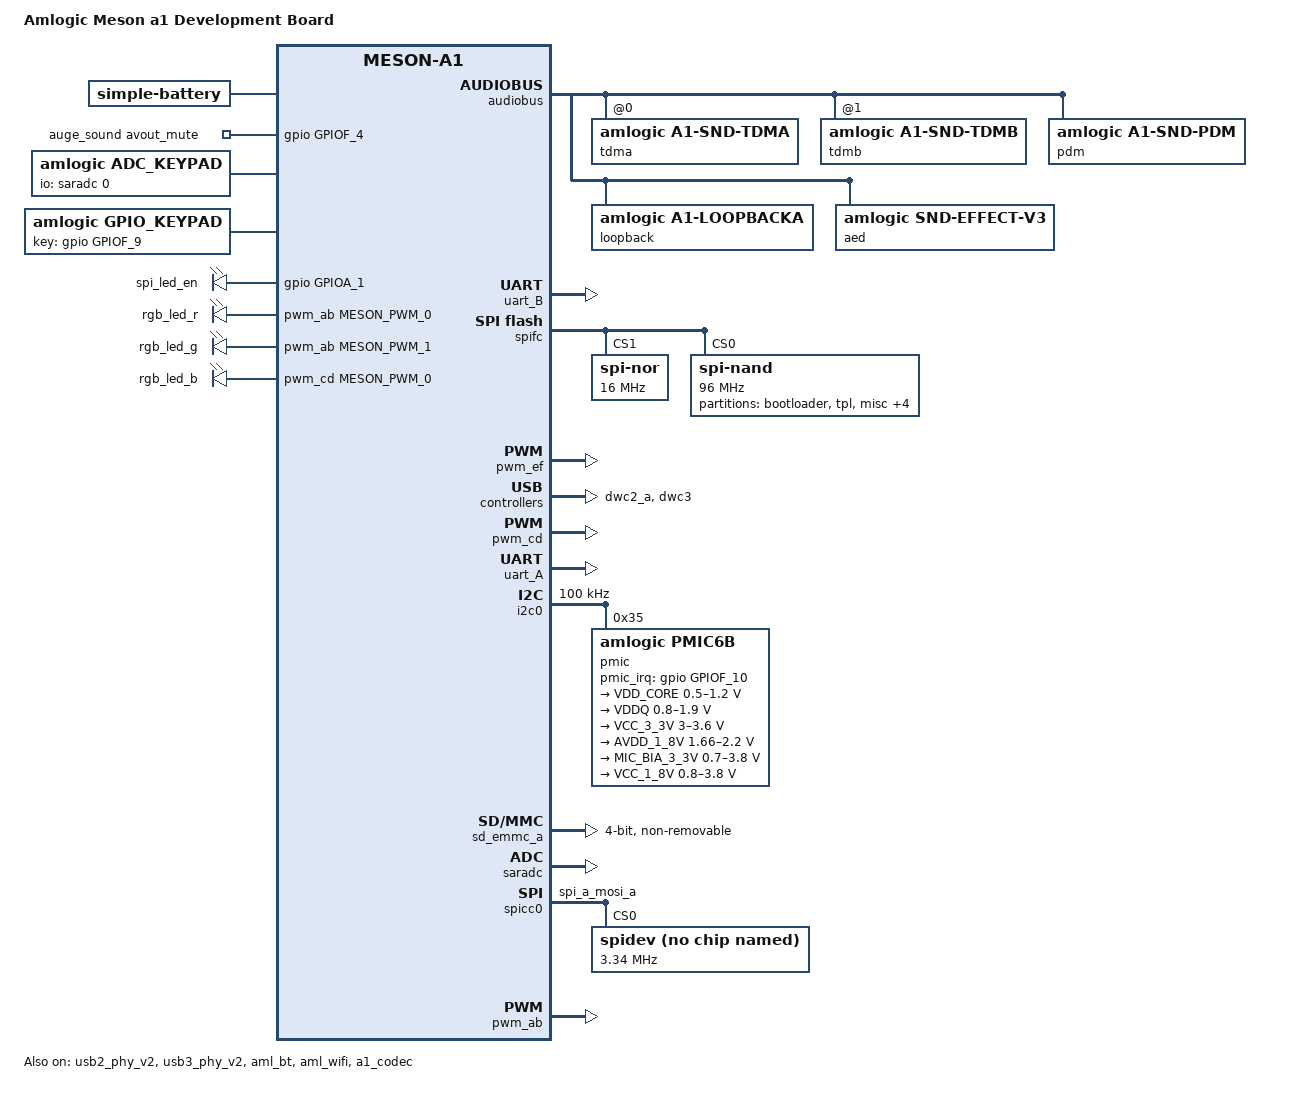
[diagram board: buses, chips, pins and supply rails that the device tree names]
// SPDX-License-Identifier: (GPL-2.0+ OR MIT)
/*
 * Copyright (c) 2019 Amlogic, Inc. All rights reserved.
 */

/dts-v1/;

#include "meson-a1.dtsi"

/ {
	compatible = "amlogic,a1";
	model = "Amlogic Meson a1 Development Board";

	aliases {
		serial0 = &uart_B;
		serial1 = &uart_A;
		serial2 = &uart_C;
		i2c0 = &i2c0;
		i2c1 = &i2c1;
		i2c2 = &i2c2;
		i2c3 = &i2c3;
		spi0 = &spifc;
		spi1 = &spicc0;
		tsensor0 = &tsensor;
	};
	chosen {
		stdout-path = "serial0:115200n8";
	};
	memory@0 {
		device_type = "memory";
		linux,usable-memory = <0x0 0x8000000>;
	};

	reserved-memory {
		#address-cells = <1>;
		#size-cells = <1>;
		ranges;

		dsp_fw_reserved:linux,dsp_fw {
			compatible = "shared-dma-pool";
			reusable;
			size = <0x1400000>;
			alignment = <0x400000>;
			alloc-ranges = <0x2800000 0x1400000>;
		};

		secos_reserved:linux,secos {
			status = "okay";
			compatible = "amlogic, aml_secos_memory";
			reg = <0x03d00000 0x00300000>;
			no-map;
		};

		/* global autoconfigured region for contiguous allocations */
		linux,cma {
			compatible = "shared-dma-pool";
			reusable;
			size = <0x800000>;
			alignment = <0x400000>;
			linux,cma-default;
		};
	};

	bat: battery {
		compatible = "simple-battery";
		charge-full-design-microamp-hours = <1900000>;
		charge-term-current-microamp = <120000>;
		constant_charge_voltage_max_microvolt = <4200000>;
		factory-internal-resistance-micro-ohms = <98000>;
		ocv-capacity-celsius = <20>;
		ocv-capacity-table-0 =
			<4115000 100>, <4088750 95>, <4052500 90>,
			<4016250 85>, <3980000 80>, <3943750 75>,
			<3907500 70>, <3871250 65>, <3835000 60>,
			<3798750 55>, <3762500 50>, <3726250 45>,
			<3690000 40>, <3653750 35>, <3617500 30>,
			<3581250 25>, <3545000 20>, <3508750 15>,
			<3472500 10>, <3436250 5>, <3400000 0>;
	};

	/* Audio Related start */
	dummy_codec:dummy_codec{
		#sound-dai-cells = <0>;
		compatible = "amlogic, aml_dummy_codec";
		status = "okay";
	};

	a1_codec:a1_codec {
		#sound-dai-cells = <0>;
		compatible = "amlogic, a1_acodec";
		status = "okay";
		reg = <0xFE004800 0x20>;
		tdmout_index = <1>;
		tdmin_index = <1>;
		dat0_ch_sel = <0>;
		/*audio output mode
		 *0:single end output
		 *1:differential output
		 */
		dacr_output_inv = <1>;
		power-domains = <&pwrdm PDID_ACODEC>;
	};

	auge_sound {
		compatible = "amlogic, auge-sound-card";
		aml-audio-card,name = "AML-AUGESOUND";

		/*avout mute gpio*/
		avout_mute-gpios = <&gpio GPIOF_4 GPIO_ACTIVE_HIGH>;

		aml-audio-card,dai-link@0 {
			format = "dsp_a";
			mclk-fs = <512>;
			//continuous-clock;
			//bitclock-inversion;
			//frame-inversion;
			/* master mode */
			bitclock-master = <&tdma>;
			frame-master = <&tdma>;
			/* slave mode */
			/*
			 * bitclock-master = <&tdmacodec>;
			 * frame-master = <&tdmacodec>;
			 */
			suffix-name = "alsaPORT-pcm";
			tdmacpu: cpu {
				sound-dai = <&tdma>;
				dai-tdm-slot-tx-mask =
							<1>;
				dai-tdm-slot-rx-mask =
							<1>;
				dai-tdm-slot-num = <2>;
				dai-tdm-slot-width = <16>;
				system-clock-frequency = <256000>;
			};
			tdmacodec: codec {
				sound-dai = <&dummy_codec>;
			};
		};

		aml-audio-card,dai-link@1 {
			format = "i2s";// "dsp_a";
			mclk-fs = <256>;
			//continuous-clock;
			//bitclock-inversion;
			//frame-inversion;
			/* master mode */
			bitclock-master = <&tdmb>;
			frame-master = <&tdmb>;
			/* slave mode */
			//bitclock-master = <&tdmbcodec>;
			//frame-master = <&tdmbcodec>;
			/* suffix-name, sync with android audio hal
			 * what's the dai link used for
			 */
			suffix-name = "alsaPORT-i2s";
			cpu {
				sound-dai = <&tdmb>;
				dai-tdm-slot-tx-mask = <1 1>;
				dai-tdm-slot-rx-mask = <1 1>;
				dai-tdm-slot-num = <2>;
				dai-tdm-slot-width = <32>;
				system-clock-frequency = <614400000>;
			};
			tdmbcodec: codec {
				sound-dai = <&a1_codec>;
			};
		};

		aml-audio-card,dai-link@2 {
			mclk-fs = <64>;
			/* suffix-name, sync with android audio hal
			 * what's the dai link used for
			 */
			suffix-name = "alsaPORT-pdm";
			cpu {
				sound-dai = <&pdm>;
			};
			codec {
				sound-dai = <&dummy_codec>;
			};
		};
#if 0
		aml-audio-card,dai-link@3 {
			mclk-fs = <128>;
			/* suffix-name, sync with android audio hal used for */
			suffix-name = "alsaPORT-spdif";
			cpu {
				sound-dai = <&spdifa>;
				system-clock-frequency = <6144000>;
			};
			codec {
				sound-dai = <&dummy_codec>;
			};
		};
#endif
		aml-audio-card,dai-link@4 {
			mclk-fs = <256>;
			continuous-clock;
			suffix-name = "alsaPORT-loopback";
			cpu {
				sound-dai = <&loopback>;
				system-clock-frequency = <12288000>;
			};
			codec {
				sound-dai = <&dummy_codec>;
			};
		};
	};
	audiolocker: locker {
		compatible = "amlogic, audiolocker";
		clocks = <&clkaudio CLKID_AUDIO_LOCKER_OUT
				&clkaudio CLKID_AUDIO_LOCKER_IN
				&clkaudio CLKID_AUDIO_MCLK_C
				&clkaudio CLKID_AUDIO_MCLK_D
				&clkc CLKID_FCLK_DIV2
				&clkc CLKID_FCLK_DIV3>;
		clock-names = "lock_out", "lock_in", "out_src",
					"in_src", "out_calc", "in_ref";
		interrupts = <GIC_SPI 42 IRQ_TYPE_EDGE_RISING>;
		interrupt-names = "irq";
		frequency = <49000000>; /* pll */
		dividor = <49>; /* locker's parent */
		power-domains = <&pwrdm PDID_AUDIO>;
		status = "disabled";
	};
	/* Audio Related end */

	adc_keypad {
		compatible = "amlogic, adc_keypad";
		status = "okay";
		key_name = "mute", "vol-", "vol+", "play";
		key_num = <4>;
		io-channels = <&saradc 0>;
		io-channel-names = "key-chan-0";
		key_chan = <0 0 0 0>;
		key_code = <113 114 115 207>;
		key_val = <510 267 141 0>; //val=voltage/1800mV*1023
		key_tolerance = <40 40 40 40>;
	};

	gpio_keypad{
		compatible = "amlogic, gpio_keypad";
		status = "okay";
		scan_period = <20>;
		key_num = <1>;
		key_name = "power";
		key_code = <116>;
		key-gpios = <&gpio GPIOF_9 GPIO_ACTIVE_HIGH>;
		detect_mode = <0>;/*0:polling mode, 1:irq mode*/
	};

	gpioleds {
		compatible = "gpio-leds";
		status = "okay";

		spi_led_en {
			label="spi_led_en";
			gpios=<&gpio GPIOA_1 GPIO_ACTIVE_HIGH>;
			default-state ="on";
		};
	};

	pwmleds {
		compatible = "pwm-leds";
		pinctrl-0 = <&pwm_a_pins4 &pwm_b_pins2 &pwm_c_pins3>;
		pinctrl-names = "default";
		status = "okay";

		led_r {
			label = "rgb_led_r";
			/* 50kHZ */
			pwms = <&pwm_ab MESON_PWM_0 20000 0>;
			max-brightness = <255>;
			ignore-init;
		};

		led_g {
			label = "rgb_led_g";
			/* 50kHZ */
			pwms = <&pwm_ab MESON_PWM_1 20000 0>;
			max-brightness = <255>;
			ignore-init;
		};

		led_b {
			label = "rgb_led_b";
			/* 50kHZ */
			pwms = <&pwm_cd MESON_PWM_0 20000 0>;
			max-brightness = <255>;
			ignore-init;
		};
	};
	audiobridge {
		compatible = "amlogic, audio-bridge";
		status = "okay";
		mboxes = <&mailbox_pl 1>,
			 <&mailbox_pl 3>;
		#mbox-cells = <1>;
		aml-audio-line,link@0 {
			auto-running = <1>;
			def-volume = <50>;
			src {
				/* 0-arm,1-dsp,2-uac */
				core = <1>;
				/* 0-none,1-tdma,2-tdmb,3-spdif,
				 * 4-lopback,5-pdmin,6-process
				 */
				sound-card = <6>;
				channels = <4>;
				sample-rate = <48000>;
				/* 0-s8,1-s16le,7-s32le */
				format = <1>;
				create-vir-card = <1>;
			};
			dst {
				core = <2>;
				sound-card = <0>;
				channels = <2>;
				sample-rate = <16000>;
				format = <1>;
			};
		};
		aml-audio-line,link@1 {
			auto-running = <1>;
			def-volume = <100>;
			src {
				core = <2>;
				sound-card = <0>;
				channels = <2>;
				sample-rate = <48000>;
				format = <1>;
			};
			dst {
				core = <1>;
				sound-card = <2>;
				channels = <2>;
				sample-rate = <48000>;
				format = <1>;
				create-vir-card = <1>;
			};
		};
	};
};

/* Audio Related start */
&audiobus {
	tdma: tdm@0 {
		compatible = "amlogic, a1-snd-tdma";
		#sound-dai-cells = <0>;
		dai-tdm-lane-slot-mask-in = <0 1>;
		dai-tdm-lane-slot-mask-out = <1 0>;
		dai-tdm-clk-sel = <0>;
		clocks = <&clkaudio CLKID_AUDIO_MCLK_A
				&clkc CLKID_FCLK_DIV3>;
		clock-names = "mclk", "clk_srcpll";
		pinctrl-names = "tdm_pins";
		pinctrl-0 = <&tdmout_a &tdmin_a>;
		power-domains = <&pwrdm PDID_AUDIO>;

		status = "okay";
	};

	tdmb: tdm@1 {
		compatible = "amlogic, a1-snd-tdmb";
		#sound-dai-cells = <0>;
		dai-tdm-lane-slot-mask-in = <1 0 0 0>;
		dai-tdm-lane-slot-mask-out = <1 0 0 0>;
		/* dai-tdm-lane-oe-slot-mask-in = <0 1>; */
		dai-tdm-clk-sel = <1>;
		clocks = <&clkaudio CLKID_AUDIO_MCLK_B
				&clkaudio CLKID_AUDIO_MCLK_PAD0
				&clkc CLKID_FCLK_DIV3>;
		clock-names = "mclk", "mclk_pad", "clk_srcpll";
		pinctrl-names = "tdm_pins";
		pinctrl-0 = <&tdmb_mclk>;

		/* tdmin data comes from ACODEC adc */
		acodec_adc = <1>;

		/*
		 * 0: tdmout_a;
		 * 1: tdmout_b;
		 * 2: tdmout_c;
		 * 3: spdifout;
		 * 4: spdifout_b;
		 */
		//samesource_sel = <3>;
		start_clk_enable = <1>;
		power-domains = <&pwrdm PDID_AUDIO>;

		src-clk-freq = <614400000>;

		status = "okay";
	};

	spdifa: spdif@0 {
		compatible = "amlogic, a1-snd-spdif-a";
		#sound-dai-cells = <0>;
		clocks = <&clkc CLKID_FCLK_DIV3
				&clkaudio CLKID_AUDIO_GATE_SPDIFIN
				&clkaudio CLKID_AUDIO_SPDIFIN>;
		clock-names = "fixed_clk", "gate_spdifin", "clk_spdifin";
		interrupts =
				<GIC_SPI 39 IRQ_TYPE_EDGE_RISING>;

		interrupt-names = "irq_spdifin";
		/* GPIOF_6 is used for RGB led, Do not set it here
		 * pinctrl-names = "spdif_pins";
		 * pinctrl-0 = <&spdifin>;
		 */
		power-domains = <&pwrdm PDID_AUDIO>;

		status = "disabled";
	};

	pdm: pdm {
		compatible = "amlogic, a1-snd-pdm";
		#sound-dai-cells = <0>;

		clocks = <&clkaudio CLKID_AUDIO2_GATE_PDM
			&clkc CLKID_FCLK_DIV2
			&clkc CLKID_FCLK_DIV2
			&clkaudio CLKID_AUDIO2_PDM_DCLK
			&clkaudio CLKID_AUDIO2_PDM_SYSCLK>;
		clock-names = "gate",
			"sysclk_srcpll",
			"dclk_srcpll",
			"pdm_dclk",
			"pdm_sysclk";

		pinctrl-names = "pdm_pins";
		pinctrl-0 = <&pdmin>;

		/* mode 0~4, defalut:1 */
		filter_mode = <1>;
		sys-src-clk-freq = <614400000>;
		/*power-domains = <&pwrdm PDID_PDM>;*/

		status = "okay";
	};

	asrca: resample@0 {
		compatible = "amlogic, a1-resample-a";
		clocks = <&clkc CLKID_FCLK_DIV3
			&clkaudio CLKID_AUDIO_MCLK_C
			&clkaudio CLKID_AUDIO_RESAMPLEA>;
		clock-names = "resample_pll", "resample_src", "resample_clk";

		/*same with toddr_src
		 *	TDMIN_A,    0
		 *	TDMIN_B,    1
		 *	TDMIN_C,    2
		 *	SPDIFIN,    3
		 *	PDMIN,      4
		 *	FRATV,      5
		 *	TDMIN_LB,   6
		 *	LOOPBACK_A, 7
		 *	FRHDMIRX,   8
		 *	LOOPBACK_B, 9
		 *	SPDIFIN_LB, 10
		 *	EARC_RX,    11
		 */
		resample_module = <3>;

		/* only can enable one new resample
		 * as only have one new resample HW
		 */
		status = "disabled";
	};

	asrcb: resample@1 {
		compatible = "amlogic, a1-resample-b";
		clocks = <&clkc CLKID_FCLK_DIV3
			&clkaudio CLKID_AUDIO_MCLK_D
			&clkaudio CLKID_AUDIO_RESAMPLEA>;
		clock-names = "resample_pll", "resample_src", "resample_clk";

		/*this resample is only used for loopback_A.*/
		/*only support 16000 or 48000Hz for capture*/
		capture_sample_rate = <16000>;

		/* hifi pll rate */
		src-clk-freq = <614400000>;

		status = "disabled";
	};

	vad:vad {
		compatible = "amlogic, snd-vad-top";
		#sound-dai-cells = <0>;

		clocks = <&clkaudio CLKID_AUDIO2_GATE_TOVAD
			/* &clkc CLKID_FCLK_DIV2 */
			&xtal
			&clkaudio CLKID_AUDIO2_VAD_CLK>;
		clock-names = "gate", "pll", "clk";

		interrupts = <GIC_SPI 117 IRQ_TYPE_EDGE_RISING
				GIC_SPI 118 IRQ_TYPE_EDGE_RISING>;
		interrupt-names = "irq_wakeup", "irq_frame_sync";

		/*
		 * Data src sel:
		 * 2: tdmin_c, actually tdmin_vad
		 * 4: pdmin
		 */
		src = <4>;

		/*
		 * deal with hot word in user space or kernel space
		 * 0: in user space
		 * 1: in kernel space
		 */
		level = <1>;

		status = "disabled";
	};

	loopback: loopback {
		compatible = "amlogic, a1-loopbacka";
		#sound-dai-cells = <0>;

		original-src = <&tdmb>;
		//tdmin_lb-src = <&tdmin_lb>;

		clocks = <&clkaudio CLKID_AUDIO2_GATE_PDM
			&clkc CLKID_FCLK_DIV2
			&clkc CLKID_FCLK_DIV2
			&clkaudio CLKID_AUDIO2_PDM_DCLK
			&clkaudio CLKID_AUDIO2_PDM_SYSCLK
			&clkc CLKID_FCLK_DIV3
			&clkaudio CLKID_AUDIO_MCLK_C>;
		clock-names = "pdm_gate",
			"pdm_sysclk_srcpll",
			"pdm_dclk_srcpll",
			"pdm_dclk",
			"pdm_sysclk",
			"tdminlb_mpll",
			"tdminlb_mclk";

		/* datain src
		 * 0: tdmin_a;
		 * 1: tdmin_b;
		 * 2: tdmin_c;
		 * 3: spdifin;
		 * 4: pdmin;
		 */
		datain_src = <4>;
		datain_chnum = <2>;
		datain_chmask = <0x3>;
		/* config which data pin for loopback */
		datain-lane-mask-in = <1 0 0 0>;

		sys-src-clk-freq = <614400000>;

		/* calc mclk for datalb */
		mclk-fs = <256>;

		/* tdmin_lb src
		 * 0: tdmoutA
		 * 1: tdmoutB
		 * 2: tdmoutC
		 * 3: PAD_TDMINA_DIN*, refer to core pinmux
		 * 4: PAD_TDMINB_DIN*, refer to core pinmux
		 * 5: PAD_TDMINC_DIN*, refer to core pinmux
		 * 6: PAD_TDMINA_D*, oe, refer to core pinmux
		 * 7: PAD_TDMINB_D*, oe, refer to core pinmux
		 */
		/* if tdmin_lb >= 3, use external loopback */
		datalb_src = <1>;
		datalb_chnum = <2>;
		datalb_chmask = <0x3>;
		/* config which data pin as loopback */
		datalb-lane-mask-in = <1 0 0 0>;
		power-domains = <&pwrdm PDID_AUDIO>;

		status = "okay";
	};

	aed:effect {
		compatible = "amlogic, snd-effect-v3";
		#sound-dai-cells = <0>;
		clocks = <&clkaudio CLKID_AUDIO_GATE_EQDRC
			&clkc CLKID_FCLK_DIV3
			&clkaudio CLKID_AUDIO_EQDRC>;
		clock-names = "gate", "srcpll", "eqdrc";
		/*
		 * 0:tdmout_a
		 * 1:tdmout_b
		 * 2:tdmout_c
		 * 3:spdifout
		 * 4:spdifout_b
		 */
		eqdrc_module = <1>;
		/* max 0xf, each bit for one lane, usually one lane */
		lane_mask = <0x1>;
		/* max 0xff, each bit for one channel */
		channel_mask = <0x3>;
		power-domains = <&pwrdm PDID_AUDIO>;
		status = "okay";
	};
}; /* end of audiobus */
/* Audio Related end */

&pinctrl_periphs {
	/* Audio Related start */
	tdmout_a: tdmout_a {
		mux { /* GPIOX_10, GPIOX_9, GPIOX_8 */
			groups = "tdm_a_sclk",
				"tdm_a_fs",
				"tdm_a_dout0";
			function = "tdm_a";
		};
	};

	tdmin_a: tdmin_a {
		mux { /* GPIOX_7 */
			groups = "tdm_a_din1";
			function = "tdm_a";
		};
	};

	tdmb_mclk: tdmb_mclk {
		mux {
			groups = "mclk_0";
			function = "mclk_0";
			drive-strength = <2>;
		};
	};

	tdmout_b: tdmout_b {
		mux { /* GPIOA_1, GPIOA_2, GPIOA_3 */
			groups = "tdm_b_sclk",
				"tdm_b_fs",
				"tdm_b_dout0";
			function = "tdm_b";
			drive-strength = <2>;
		};
	};

	tdmin_b:tdmin_b {
		mux { /* GPIOA_7 */
			groups = "tdm_b_din0";
			function = "tdm_b";
			drive-strength = <2>;
		};
	};

	spdifin: spdifin {
		mux {/* GPIOF_6 */
			groups = "spdif_in_f6";
			function = "spdif_in";
		};
	};

	pdmin: pdmin {
		mux { /* GPIOA_7, GPIOA_8, GPIOA_9 */
			groups =
				"pdm_din1_a",
				"pdm_din0_a",
				"pdm_dclk";
			function = "pdm";
		};
	};

	/* Audio Related end */

	/* spi-led */
	spicc0_led_pins_a: spicc0_led_pins_a {
		mux {
			groups = "spi_a_mosi_a";
			function = "spi_a";
			bias-pull-down;
			drive-strength = <2>;
		};
	};

}; /* end of pinctrl_periphs */

&uart_B {
	status = "okay";
};

&spifc {
	status = "okay";
	pinctrl-names = "default";
	pinctrl-0 = <&spifc_pins>;
	spi-nor@1 {
		reg = <1>;
		compatible = "jedec,spi-nor";
		spi-max-frequency = <16000000>;
	};
	spi-nand@0 {
		compatible = "spi-nand";
		status = "okay";
		reg = <0>;
		spi-max-frequency = <96000000>;
		spi-tx-bus-width = <4>;
		spi-rx-bus-width = <4>;
		env_size = <8192>;
		bl_mode = <1>;
		fip_copies = <4>;
		fip_size = <0x200000>;
		partition = <&partitions>;
		partitions: partitions{
			bootloader{
				offset=<0x0 0x0>;
				size=<0x0 0x0>;
			};
			tpl{
				offset=<0x0 0x0>;
				size=<0x0 0x0>;
			};
			misc{
				offset=<0x0 0x0>;
				size=<0x0 0x40000>;
			};
			recovery{
				offset=<0x0 0x0>;
				size=<0x0 0x1000000>;
			};
			boot{
				offset=<0x0 0x0>;
				size=<0x0 0xc00000>;
			};
			system{
				offset=<0x0 0x0>;
				size=<0x0 0x4e00000>;
			};
			data{
				offset=<0xffffffff 0xffffffff>;
				size=<0x0 0x0>;
			};
		};
	};
};

&cpu0 {
	cpu-supply = <&VDD_CORE>;
};

&cpu1 {
	cpu-supply = <&VDD_CORE>;
};

&pwm_ef {
	status = "okay";
};

&vddcpu0 {
	pinctrl-names = "default";
	pinctrl-0 = <&pwm_f_pins4>;
	pwms = <&pwm_ef MESON_PWM_1 1500 0>;
	status = "disable";
};

&dwc2_a {
	status = "okay";
	/** 0: normal, 1: otg+dwc3 host only, 2: otg+dwc3 device only*/
	controller-type = <3>;
};

&dwc3 {
	status = "okay";
};

&usb2_phy_v2 {
	status = "okay";
	portnum = <1>;
};

&usb3_phy_v2 {
	status = "okay";
	portnum = <0>;
	otg = <2>;
	gpio-vbus-power = "GPIOP_3";
	gpios = <&gpio GPIOP_3 GPIO_ACTIVE_HIGH
			&gpio GPIOP_2  GPIO_ACTIVE_LOW>;
};

&aml_bt {
	status = "okay";
	hostwake-gpios = <&gpio       GPIOP_1       GPIO_ACTIVE_HIGH>;
	bt_en-gpios = <&gpio       GPIOX_6       GPIO_ACTIVE_HIGH>;

};

&aml_wifi {
	status = "okay";
	interrupt-gpios = <&gpio       GPIOP_0       GPIO_ACTIVE_HIGH>;
};

&pwm_cd {
	status = "okay";
};

&uart_A {
	status = "okay";
};

&i2c0 {
	status = "okay";
	pinctrl-names="default", "sleep";
	pinctrl-0 = <&i2c0_master_pins1>;
	pinctrl-1 = <&i2c0_master_sleep_pins1>;
	clock-frequency = <100000>; /* default 100k */

	pmic@35 {
		compatible = "amlogic,pmic6b";
		status = "okay";
		reg = <0x35>;
		interrupt-parent = <&gpio_intc>;
		pmic_irq-gpio = <&gpio GPIOF_10 GPIO_ACTIVE_HIGH>;
		system-power-controller;
		interrupt-controller;
		#interrupt-cells = <2>;
		gpio-controller;
		#gpio-cells = <2>;

		regulators {
			VDD_CORE: DCDC1 {
				regulator-name = "VDD_CORE";
				regulator-min-microvolt = <500000>;
				regulator-max-microvolt = <1200000>;
				regulator-boot-on;
				regulator-always-on;
				regulator-state-mem {
					regulator-on-in-suspend;
				};
			};

			VDDQ: DCDC2 {
				regulator-name = "VDDQ";
				regulator-min-microvolt = <800000>;
				regulator-max-microvolt = <1900000>;
				regulator-boot-on;
				regulator-always-on;
				regulator-state-mem {
					regulator-off-in-suspend;
				};
			};

			VCC_3_3V: DCDC3 {
				regulator-name = "VCC_3_3V";
				regulator-min-microvolt = <3000000>;
				regulator-max-microvolt = <3600000>;
				regulator-boot-on;
				regulator-always-on;
				regulator-state-mem {
					regulator-on-in-suspend;
				};
			};

			AVDD_1_8V: LDO1 {
				regulator-name = "AVDD_1_8V";
				regulator-min-microvolt = <1660000>;
				regulator-max-microvolt = <2200000>;
				regulator-boot-on;
				regulator-always-on;
				regulator-state-mem {
					regulator-off-in-suspend;
				};
			};

			MIC_BIA_3_3V: LDO2 {
				regulator-name = "MIC_BIA_3_3V";
				regulator-min-microvolt = <700000>;
				regulator-max-microvolt = <3800000>;
				regulator-boot-on;
				regulator-always-on;
				regulator-state-mem {
					regulator-off-in-suspend;
				};
			};

			VCC_1_8V: LDO3 {
				regulator-name = "VCC_1_8V";
				regulator-min-microvolt = <800000>;
				regulator-max-microvolt = <3800000>;
				regulator-boot-on;
				//regulator-always-on;
				regulator-state-mem {
					regulator-off-in-suspend;
				};
			};
		};

		gpio {
			compatible = "amlogic,pmic6b-gpio";
		};

		pwrkey {
			compatible = "amlogic,pmic6b-pwrkey";
		};
		charger {
			status = "okay";
			compatible = "amlogic,pmic6b-battery";
			monitored-battery = <&bat>;
		};

		rtc {
			compatible = "amlogic,pmic6b-rtc";
		};
	};
};

&i2c1 {
	status = "disabled";
	pinctrl-names="default";
	pinctrl-0=<&i2c1_master_pins2>;
	clock-frequency = <100000>; /* default 100k */

	csk05: csk05@15{
		compatible = "hynitron, csk05_ts";
		reg = <0x15>;
		status = "disabled";
		reset_pin     = <&gpio GPIOF_11 GPIO_ACTIVE_HIGH>;
		interrupt_pin = <&gpio GPIOF_10 IRQ_TYPE_LEVEL_LOW>;

		freq = <6>;
		sensitivity = <1>;
		idac = <60>;
		noise = <80>;

		key_num = <5>;
		key_name = "play", "mic", "wakeup", "vol-", "vol+";
		key_code = <KEY_PLAY
			    KEY_MENU
			    KEY_HOME
			    KEY_VOLUMEDOWN
			    KEY_VOLUMEUP>;
	};
};

&sd_emmc_a {
	status = "okay";
	pinctrl-0 = <&sdio_pins>;
	pinctrl-1 = <&sdio_clk_gate_pins>;
	pinctrl-names = "default", "clk-gate";
	bus-width = <4>;
	cap-sd-highspeed;
//	sd-uhs-sdr12;
//	sd-uhs-sdr25;
//	sd-uhs-sdr50;
//	sd-uhs-sdr104;
	non-removable;
	max-frequency = <200000000>;
	disable-wp;
	cap-sdio-irq;
	keep-power-in-suspend;
	card_type = <3>;

//	vmmc-supply = <&VCC_3_3V>;
//	vqmmc-supply = <&VCC_1_8V>;
};

&saradc {
	status = "okay";
};

&spicc0 {
	status = "okay";
	pinctrl-names = "default";
	pinctrl-0 = <&spicc0_led_pins_a>;
	//cs-gpios = <&gpio GPIOA_8 0>;
	spidev@0 {
		compatible = "rohm,dh2228fv";
		status = "okay";
		reg = <0>;
		spi-max-frequency = <3340000>;
	};
};

&pwm_ab {
	status = "okay";
};
